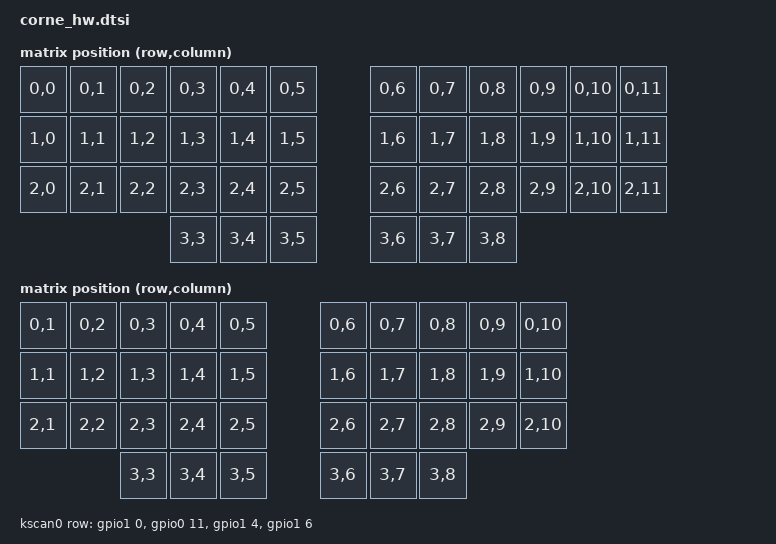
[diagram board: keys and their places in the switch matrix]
/*
 * Copyright (c) 2020 The ZMK Contributors
 *
 * SPDX-License-Identifier: MIT
 */

#include <dt-bindings/zmk/matrix_transform.h>
#include <dt-bindings/pinctrl/nrf-pinctrl.h>
#include <dt-bindings/i2c/i2c.h>

#include <layouts/foostan/corne/5column.dtsi>
#include <layouts/foostan/corne/6column.dtsi>

&foostan_corne_6col_layout {
    transform = <&default_transform>;
};

&foostan_corne_5col_layout {
    transform = <&five_column_transform>;
};

/ {
    chosen {
        zmk,kscan = &kscan0;
        zmk,physical-layout = &foostan_corne_6col_layout;
    };

    default_transform: keymap_transform_0 {
        compatible = "zmk,matrix-transform";
        columns = <12>;
        rows = <4>;
        map = <
RC(0,0) RC(0,1) RC(0,2) RC(0,3) RC(0,4) RC(0,5)  RC(0,6) RC(0,7) RC(0,8) RC(0,9) RC(0,10) RC(0,11)
RC(1,0) RC(1,1) RC(1,2) RC(1,3) RC(1,4) RC(1,5)  RC(1,6) RC(1,7) RC(1,8) RC(1,9) RC(1,10) RC(1,11)
RC(2,0) RC(2,1) RC(2,2) RC(2,3) RC(2,4) RC(2,5)  RC(2,6) RC(2,7) RC(2,8) RC(2,9) RC(2,10) RC(2,11)
                        RC(3,3) RC(3,4) RC(3,5)  RC(3,6) RC(3,7) RC(3,8)
        >;
    };

    five_column_transform: keymap_transform_1 {
        compatible = "zmk,matrix-transform";
        columns = <10>;
        rows = <4>;
        map = <
RC(0,1) RC(0,2) RC(0,3) RC(0,4) RC(0,5)  RC(0,6) RC(0,7) RC(0,8) RC(0,9) RC(0,10)
RC(1,1) RC(1,2) RC(1,3) RC(1,4) RC(1,5)  RC(1,6) RC(1,7) RC(1,8) RC(1,9) RC(1,10)
RC(2,1) RC(2,2) RC(2,3) RC(2,4) RC(2,5)  RC(2,6) RC(2,7) RC(2,8) RC(2,9) RC(2,10)
                        RC(3,3) RC(3,4) RC(3,5)  RC(3,6) RC(3,7) RC(3,8)
        >;
    };

    kscan0: kscan {
        compatible = "zmk,kscan-gpio-matrix";
        wakeup-source;
        diode-direction = "row2col";
        
        // Placeholder row definitions - will be overridden in overlay files
        row-gpios
            = <&gpio1 0 GPIO_ACTIVE_HIGH>  // Row 0
            , <&gpio0 11 GPIO_ACTIVE_HIGH> // Row 1  
            , <&gpio1 4 GPIO_ACTIVE_HIGH>  // Row 2
            , <&gpio1 6 GPIO_ACTIVE_HIGH>  // Row 3
            ;
    };
};

// I2C configuration moved to individual overlay files
// Each side needs its own OLED configuration
